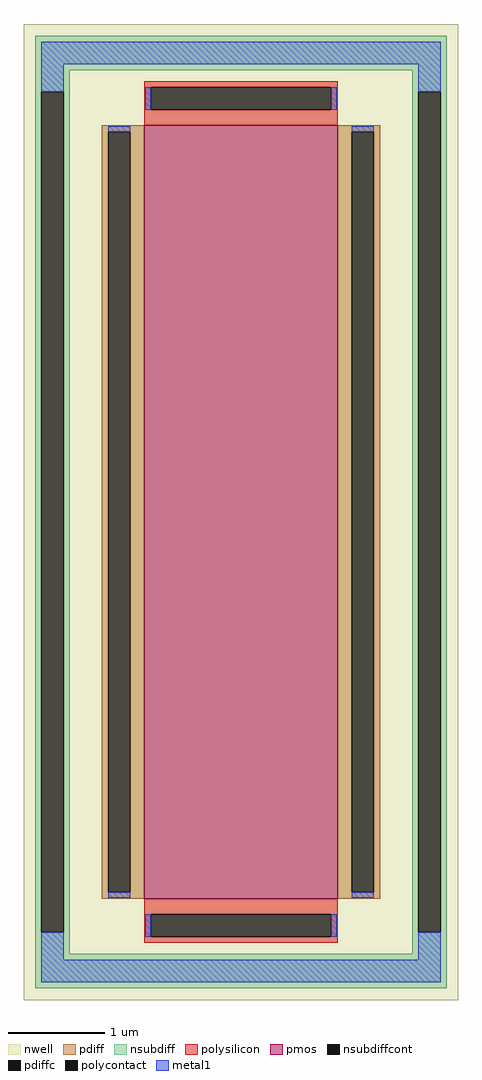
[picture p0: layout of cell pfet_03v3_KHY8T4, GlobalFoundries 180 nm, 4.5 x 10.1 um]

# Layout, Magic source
magic
tech gf180mcuD
magscale 1 10
<< nwell >>
rect -450 -1010 450 1010
<< pmos >>
rect -200 -800 200 800
<< pdiff >>
rect -288 787 -200 800
rect -288 -787 -275 787
rect -229 -787 -200 787
rect -288 -800 -200 -787
rect 200 787 288 800
rect 200 -787 229 787
rect 275 -787 288 787
rect 200 -800 288 -787
<< pdiffc >>
rect -275 -787 -229 787
rect 229 -787 275 787
<< nsubdiff >>
rect -426 914 426 986
rect -426 870 -354 914
rect -426 -870 -413 870
rect -367 -870 -354 870
rect 354 870 426 914
rect -426 -914 -354 -870
rect 354 -870 367 870
rect 413 -870 426 870
rect 354 -914 426 -870
rect -426 -986 426 -914
<< nsubdiffcont >>
rect -413 -870 -367 870
rect 367 -870 413 870
<< polysilicon >>
rect -200 879 200 892
rect -200 833 -187 879
rect 187 833 200 879
rect -200 800 200 833
rect -200 -833 200 -800
rect -200 -879 -187 -833
rect 187 -879 200 -833
rect -200 -892 200 -879
<< polycontact >>
rect -187 833 187 879
rect -187 -879 187 -833
<< metal1 >>
rect -413 927 413 973
rect -413 870 -367 927
rect -198 833 -187 879
rect 187 833 198 879
rect 367 870 413 927
rect -275 787 -229 798
rect -275 -798 -229 -787
rect 229 787 275 798
rect 229 -798 275 -787
rect -413 -927 -367 -870
rect -198 -879 -187 -833
rect 187 -879 198 -833
rect 367 -927 413 -870
rect -413 -973 413 -927
<< properties >>
string FIXED_BBOX -390 -950 390 950
string gencell pfet_03v3
string library gf180mcu
string parameters w 8.0 l 2.0 m 1 nf 1 diffcov 100 polycov 100 guard 1 glc 1 grc 1 gtc 0 gbc 0 tbcov 100 rlcov 100 topc 1 botc 1 poverlap 0 doverlap 1 lmin 0.28 wmin 0.22 class mosfet full_metal 1 compatible {pfet_03v3 pfet_06v0} ad {int((nf+1)/2) * W/nf * 0.18u} as {int((nf+2)/2) * W/nf * 0.18u} pd {2*int((nf+1)/2) * (W/nf + 0.18u)} ps {2*int((nf+2)/2) * (W/nf + 0.18u)} nrd {0.18u / W} nrs {0.18u / W} sa 0 sb 0 sd 0
<< end >>
